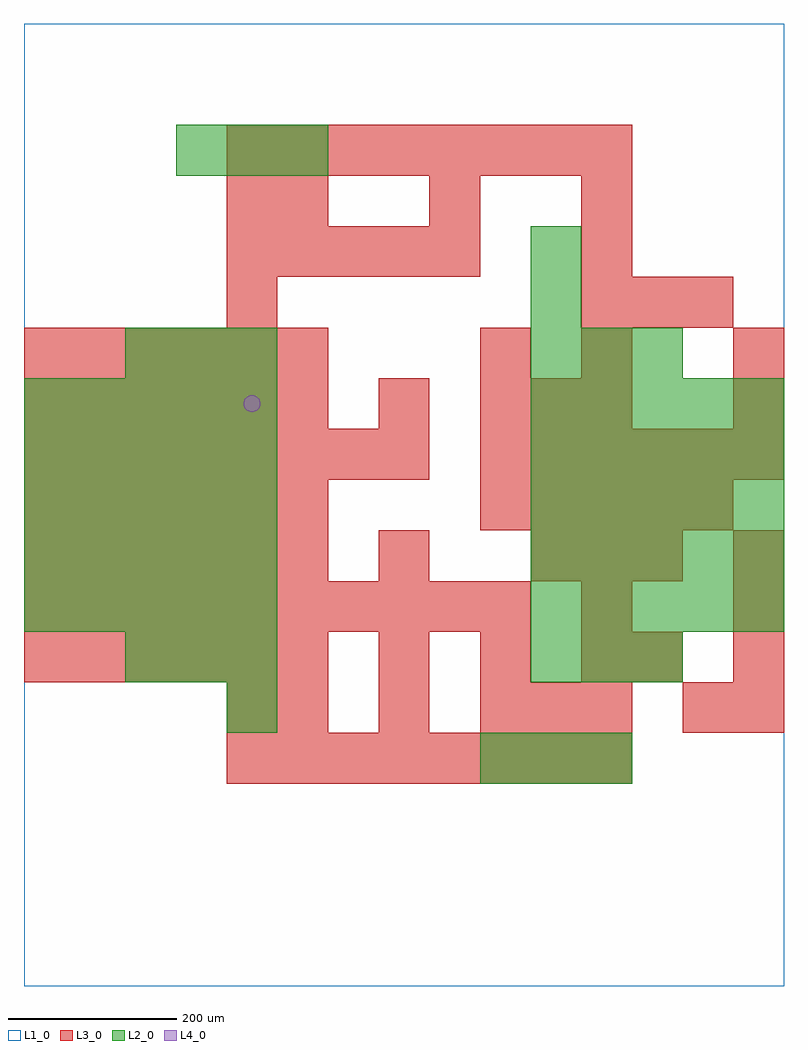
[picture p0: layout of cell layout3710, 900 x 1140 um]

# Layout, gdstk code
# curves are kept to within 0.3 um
import gdstk
lib = gdstk.Library(unit=1e-6, precision=1e-09)
def R(c, l, rs):  # rectangles x0, y0, x1, y1
    for r in rs: c.add(gdstk.rectangle(r[:2], r[2:], *l))
def A(c, l, x, y, w, h, nx, ny, dx, dy):  # array of equal rectangles
    R(c, l, [(x+i*dx, y+j*dy, x+i*dx+w, y+j*dy+h) for i in range(nx) for j in range(ny)])
def P(c, l, *ps):  # polygons
    for p in ps: c.add(gdstk.Polygon(p, *l))
L1_0 = (1, 0)
L2_0 = (2, 0)
L3_0 = (3, 0)
L4_0 = (4, 0)

layout3710 = lib.new_cell('layout3710')
R(layout3710, L1_0, [(0,0,900,1140)])
A(layout3710, L2_0, 540, 240, 60, 60, 3, 1, 60, 0)
A(layout3710, L2_0, 120, 360, 60, 60, 3, 2, 60, 360)
A(layout3710, L2_0, 600, 360, 60, 60, 3, 2, 60, 360)
A(layout3710, L2_0, 0, 420, 60, 60, 5, 5, 60, 60)
A(layout3710, L2_0, 600, 420, 60, 60, 5, 5, 60, 60)
A(layout3710, L2_0, 180, 960, 60, 60, 3, 1, 60, 0)
R(layout3710, L2_0, [(240,300,300,360), (600,780,660,840), (600,840,660,900)])
A(layout3710, L3_0, 240, 240, 60, 60, 8, 2, 60, 720)
A(layout3710, L3_0, 300, 300, 60, 60, 3, 1, 120, 0)
A(layout3710, L3_0, 840, 300, 60, 60, 1, 4, 0, 60)
A(layout3710, L3_0, 0, 360, 60, 60, 6, 2, 60, 120)
A(layout3710, L3_0, 420, 360, 60, 60, 3, 1, 120, 0)
A(layout3710, L3_0, 0, 420, 60, 60, 10, 1, 60, 0)
A(layout3710, L3_0, 600, 480, 60, 60, 3, 1, 60, 0)
A(layout3710, L3_0, 0, 540, 60, 60, 6, 2, 60, 120)
A(layout3710, L3_0, 540, 540, 60, 60, 5, 1, 60, 0)
A(layout3710, L3_0, 0, 600, 60, 60, 8, 1, 60, 0)
A(layout3710, L3_0, 540, 600, 60, 60, 6, 1, 60, 0)
A(layout3710, L3_0, 540, 660, 60, 60, 3, 1, 60, 0)
A(layout3710, L3_0, 0, 720, 60, 60, 6, 1, 60, 0)
A(layout3710, L3_0, 660, 780, 60, 60, 3, 1, 60, 0)
A(layout3710, L3_0, 240, 840, 60, 60, 5, 1, 60, 0)
A(layout3710, L3_0, 300, 900, 60, 60, 3, 1, 180, 0)
R(layout3710, L3_0, [(240,300,300,360), (600,300,660,360), (660,300,720,360), (780,300,840,360), (720,360,780,420), (660,420,720,480), (420,480,480,540), (420,660,480,720), (840,660,900,720), (540,720,600,780), (660,720,720,780), (840,720,900,780), (240,780,300,840), (660,840,720,900), (240,900,300,960)])
P(layout3710, L4_0, [(280,690),(279.239,693.827),(277.071,697.071),(273.827,699.239),(270,700),(266.173,699.239),(262.929,697.071),(260.761,693.827),(260,690),(260.761,686.173),(262.929,682.929),(266.173,680.761),(270,680),(273.827,680.761),(277.071,682.929),(279.239,686.173)])

lib.write_gds('layout3710.gds')
